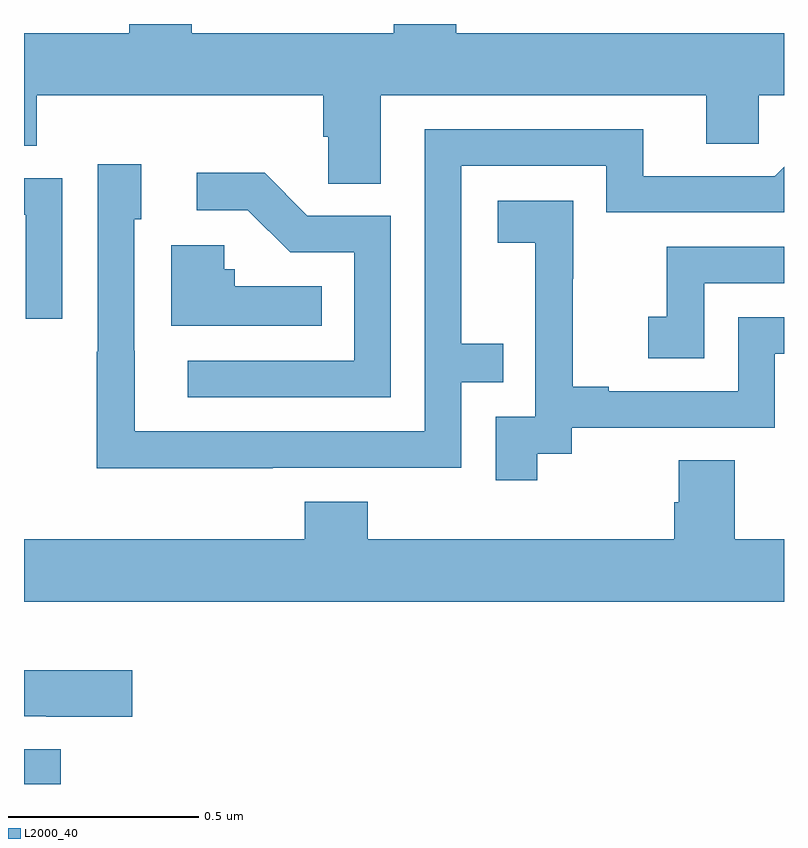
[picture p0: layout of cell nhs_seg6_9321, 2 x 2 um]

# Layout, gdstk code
import gdstk
lib = gdstk.Library(unit=1e-6, precision=1e-09)
def R(c, l, rs):  # rectangles x0, y0, x1, y1
    for r in rs: c.add(gdstk.rectangle(r[:2], r[2:], *l))
def P(c, l, *ps):  # polygons
    for p in ps: c.add(gdstk.Polygon(p, *l))
L2000_40 = (2000, 40)

nhs_seg6_9321 = lib.new_cell('nhs_seg6_9321')
R(nhs_seg6_9321, L2000_40, [(232,969.5,232.097,969.592)])
P(nhs_seg6_9321, L2000_40, [(232.939,971.312),(233.795,971.312),(233.795,971.185),(233.934,971.185),(233.934,971.312),(234,971.312),(234,971.476),(233.138,971.476),(233.138,971.5),(232.973,971.5),(232.973,971.476),(232.442,971.476),(232.442,971.5),(232.277,971.5),(232.277,971.476),(232,971.476),(232,971.179),(232.034,971.179),(232.034,971.312),(232.787,971.312),(232.787,971.203),(232.8,971.203),(232.8,971.08),(232.939,971.08)],
  [(232.655,970.332),(233.151,970.332),(233.151,970.557),(233.261,970.557),(233.261,970.658),(233.151,970.658),(233.151,971.127),(233.532,971.127),(233.532,971.004),(234,971.004),(234,971.124),(233.976,971.1),(233.629,971.1),(233.629,971.223),(233.055,971.223),(233.055,970.428),(232.291,970.428),(232.291,970.64),(232.29,970.64),(232.29,970.986),(232.309,970.986),(232.309,971.131),(232.194,971.131),(232.194,970.637),(232.192,970.637),(232.192,970.331),(232.655,970.331)],
  [(232.965,970.995),(232.746,970.995),(232.633,971.108),(232.455,971.108),(232.455,971.01),(232.589,971.01),(232.7,970.899),(232.869,970.899),(232.869,970.614),(232.431,970.614),(232.431,970.518),(232.965,970.518)],
  [(232.101,971.094),(232,971.094),(232,970.998),(232.005,970.998),(232.005,970.725),(232.101,970.725)],
  [(233.35,970.369),(233.442,970.369),(233.442,970.437),(233.976,970.437),(233.976,970.632),(234,970.632),(234,970.728),(233.88,970.728),(233.88,970.533),(233.539,970.533),(233.539,970.546),(233.444,970.546),(233.444,970.829),(233.445,970.829),(233.445,971.035),(233.247,971.035),(233.247,970.925),(233.345,970.925),(233.345,970.697),(233.346,970.697),(233.346,970.467),(233.241,970.467),(233.241,970.299),(233.35,970.299)],
  [(232.784,970.81),(232.554,970.81),(232.554,970.854),(232.527,970.854),(232.527,970.918),(232.388,970.918),(232.388,970.706),(232.784,970.706)],
  [(233.79,970.818),(234,970.818),(234,970.914),(233.692,970.914),(233.692,970.729),(233.643,970.729),(233.643,970.62),(233.79,970.62)],
  [(234,970.144),(233.871,970.144),(233.871,970.352),(233.723,970.352),(233.723,970.242),(233.711,970.242),(233.711,970.144),(232.904,970.144),(232.904,970.243),(232.739,970.243),(232.739,970.144),(232,970.144),(232,969.98),(234,969.98)],
  [(232.285,969.799),(232,969.799),(232,969.678),(232.058,969.678),(232.058,969.677),(232.285,969.677)])

lib.write_gds('nhs_seg6_9321.gds')
